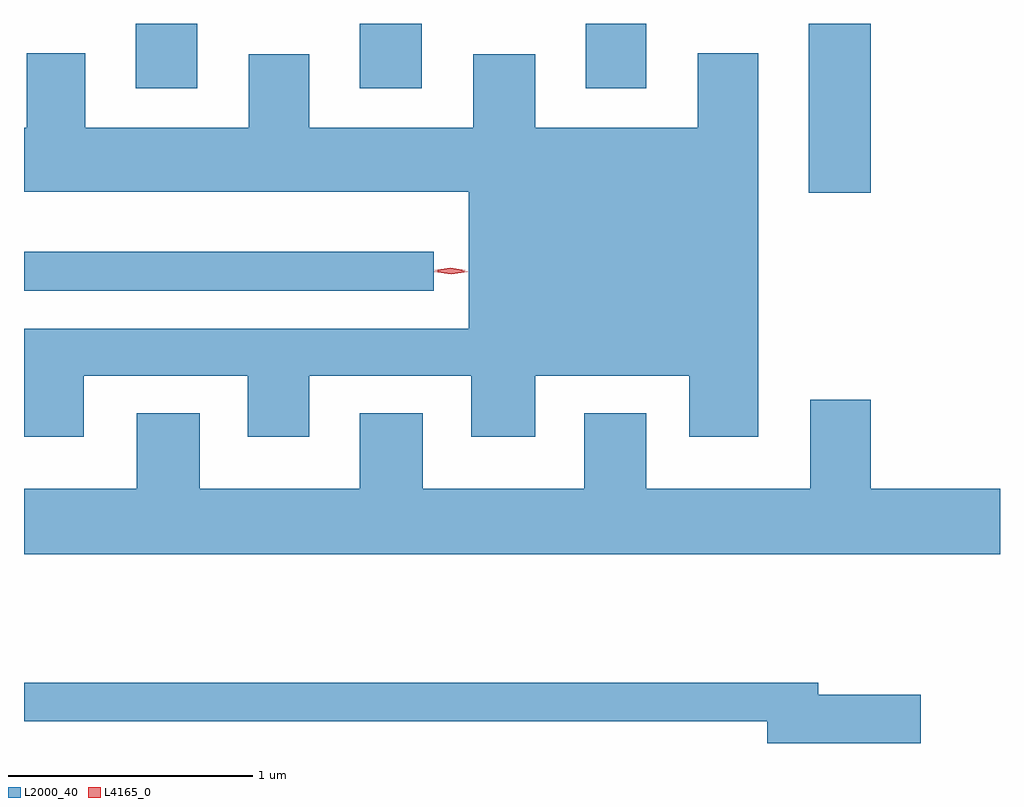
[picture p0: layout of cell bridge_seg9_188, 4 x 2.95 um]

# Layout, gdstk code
import gdstk
lib = gdstk.Library(unit=1e-6, precision=1e-09)
def R(c, l, rs):  # rectangles x0, y0, x1, y1
    for r in rs: c.add(gdstk.rectangle(r[:2], r[2:], *l))
def P(c, l, *ps):  # polygons
    for p in ps: c.add(gdstk.Polygon(p, *l))
L2000_40 = (2000, 40)
L4165_0 = (4165, 0)

bridge_seg9_188 = lib.new_cell('bridge_seg9_188')
R(bridge_seg9_188, L2000_40, [(1278.189,1988.456,1279.868,1988.614), (1281.406,1988.856,1281.659,1989.549), (1278.646,1989.286,1278.899,1989.549), (1279.566,1989.286,1279.819,1989.549), (1280.491,1989.286,1280.739,1989.549)])
P(bridge_seg9_188, L2000_40, [(1278.434,1988.106),(1279.106,1988.106),(1279.106,1987.856),(1279.359,1987.856),(1279.359,1988.106),(1280.021,1988.106),(1280.021,1987.856),(1280.284,1987.856),(1280.284,1988.106),(1280.916,1988.106),(1280.916,1987.856),(1281.199,1987.856),(1281.199,1989.429),(1280.951,1989.429),(1280.951,1989.124),(1280.284,1989.124),(1280.284,1989.424),(1280.031,1989.424),(1280.031,1989.124),(1279.359,1989.124),(1279.359,1989.424),(1279.111,1989.424),(1279.111,1989.124),(1278.439,1989.124),(1278.439,1989.429),(1278.201,1989.429),(1278.201,1989.124),(1278.189,1989.124),(1278.189,1988.861),(1280.011,1988.861),(1280.011,1988.299),(1278.189,1988.299),(1278.189,1988.106),(1278.191,1988.106),(1278.191,1987.856),(1278.434,1987.856)],
  [(1282.189,1987.644),(1281.659,1987.644),(1281.659,1988.009),(1281.411,1988.009),(1281.411,1987.644),(1280.739,1987.644),(1280.739,1987.954),(1280.486,1987.954),(1280.486,1987.644),(1279.824,1987.644),(1279.824,1987.954),(1279.566,1987.954),(1279.566,1987.644),(1278.909,1987.644),(1278.909,1987.954),(1278.651,1987.954),(1278.651,1987.644),(1278.189,1987.644),(1278.189,1987.376),(1282.189,1987.376)],
  [(1281.864,1986.799),(1281.444,1986.799),(1281.444,1986.849),(1278.189,1986.849),(1278.189,1986.691),(1281.236,1986.691),(1281.236,1986.601),(1281.864,1986.601)])
P(bridge_seg9_188, L4165_0, [(1279.936,1988.529),(1279.873,1988.539),(1279.873,1988.539),(1279.873,1988.54),(1279.936,1988.549),(1279.997,1988.54),(1279.998,1988.54),(1279.997,1988.539)],
  [(1279.939,1988.523),(1279.87,1988.533),(1279.869,1988.533),(1279.87,1988.534),(1279.939,1988.543),(1280.007,1988.534),(1280.008,1988.533),(1280.007,1988.533)])

lib.write_gds('bridge_seg9_188.gds')
